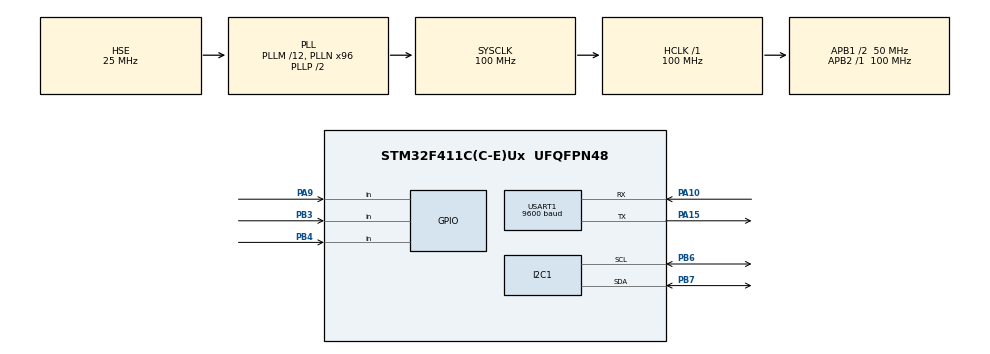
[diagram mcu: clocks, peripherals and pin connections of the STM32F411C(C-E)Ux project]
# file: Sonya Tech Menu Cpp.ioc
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Mcu.Family=STM32F4
Mcu.Name=STM32F411C(C-E)Ux
Mcu.Package=UFQFPN48
NVIC.PriorityGroup=NVIC_PRIORITYGROUP_4
NVIC.TIM1_UP_TIM10_IRQn=true\:15\:0\:false\:false\:true\:false\:true\:true
NVIC.TimeBase=TIM1_UP_TIM10_IRQn
NVIC.TimeBaseIP=TIM1
PA10.Mode=Asynchronous
PA10.Signal=USART1_RX
PA13.Mode=Serial_Wire
PA13.Signal=SYS_JTMS-SWDIO
PA14.Mode=Serial_Wire
PA14.Signal=SYS_JTCK-SWCLK
PA15.Mode=Asynchronous
PA15.Signal=USART1_TX
PA9.GPIO_PuPd=GPIO_PULLUP
PA9.Signal=GPIO_Input
PB3.Signal=GPIO_Input
PB4.Signal=GPIO_Input
PB6.Mode=I2C
PB6.Signal=I2C1_SCL
PB7.Mode=I2C
PB7.Signal=I2C1_SDA
PC14-OSC32_IN.Mode=LSE-External-Oscillator
PC14-OSC32_IN.Signal=RCC_OSC32_IN
PC15-OSC32_OUT.Mode=LSE-External-Oscillator
PC15-OSC32_OUT.Signal=RCC_OSC32_OUT
PH0\ -\ OSC_IN.Mode=HSE-External-Oscillator
PH0\ -\ OSC_IN.Signal=RCC_OSC_IN
PH1\ -\ OSC_OUT.Mode=HSE-External-Oscillator
PH1\ -\ OSC_OUT.Signal=RCC_OSC_OUT
ProjectManager.HeapSize=0x200
ProjectManager.StackSize=0x400
ProjectManager.TargetToolchain=STM32CubeIDE
RCC.48MHZClocksFreq_Value=50000000
RCC.AHBFreq_Value=100000000
RCC.APB1CLKDivider=RCC_HCLK_DIV2
RCC.APB1Freq_Value=50000000
RCC.APB1TimFreq_Value=100000000
RCC.APB2Freq_Value=100000000
RCC.APB2TimFreq_Value=100000000
RCC.CortexFreq_Value=100000000
RCC.EnbaleCSS=true
RCC.HCLKFreq_Value=100000000
RCC.HSE_VALUE=25000000
RCC.HSI_VALUE=16000000
RCC.PLLM=12
RCC.PLLN=96
RCC.PLLSourceVirtual=RCC_PLLSOURCE_HSE
RCC.SYSCLKFreq_VALUE=100000000
RCC.SYSCLKSource=RCC_SYSCLKSOURCE_PLLCLK
RCC.VCOOutputFreq_Value=200000000
USART1.BaudRate=9600
USART1.VirtualMode=VM_ASYNC
VP_SYS_VS_tim1.Mode=TIM1
board=custom

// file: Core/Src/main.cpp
/* USER CODE BEGIN Header */
/**
  ******************************************************************************
  * @file           : main.c
  * @brief          : Main program body
  ******************************************************************************
  * @attention
  *
  * Copyright (c) 2025 STMicroelectronics.
  * All rights reserved.
  *
  * This software is licensed under terms that can be found in the LICENSE file
  * in the root directory of this software component.
  * If no LICENSE file comes with this software, it is provided AS-IS.
  *
  ******************************************************************************
  */
/* USER CODE END Header */
#include "main.h"

/* USER CODE BEGIN Includes */
#include "SimpleMenu.h"
#include "liquidcrystal_i2c.h"
#include "rotary.h"

/* USER CODE END Includes */

I2C_HandleTypeDef hi2c1;

UART_HandleTypeDef huart1;

void SystemClock_Config(void);
static void MX_GPIO_Init(void);
static void MX_I2C1_Init(void);
static void MX_USART1_UART_Init(void);

/* USER CODE BEGIN 0 */

int ingr1, ingr2, ingr3, ingr4, ingr5;
int topSteps, linearSteps, tiltSteps;
int dummyValue; // placeholder for unused ranges
char tx_buffer[16];

/*******ingrTogg**************/
void ingrTogg()
{
	sprintf(tx_buffer, "%d:%d\n", 1, 1);
	HAL_UART_Transmit(&huart1, (uint8_t*)tx_buffer, strlen(tx_buffer), 1000);
}

/*******ingrTim**************/
void updateFunction() {
  if(ingr1 != 0)
  {
    sprintf(tx_buffer, "%d:%d\n", 2, ingr1);
	  HAL_UART_Transmit(&huart1, (uint8_t*)tx_buffer, strlen(tx_buffer), 1000);
	  HAL_Delay(500);
  }
  else if(ingr2 != 0)
  {
    sprintf(tx_buffer, "%d:%d\n", 3, ingr2);
    HAL_UART_Transmit(&huart1, (uint8_t*)tx_buffer, strlen(tx_buffer), 1000);
    HAL_Delay(500);
  }
  else if(ingr3 != 0)
  {
    sprintf(tx_buffer, "%d:%d\n", 4, ingr3);
    HAL_UART_Transmit(&huart1, (uint8_t*)tx_buffer, strlen(tx_buffer), 1000);
    HAL_Delay(500);
  }
  else if(ingr4 != 0)
  {
    sprintf(tx_buffer, "%d:%d\n", 5, ingr4);
    HAL_UART_Transmit(&huart1, (uint8_t*)tx_buffer, strlen(tx_buffer), 1000);
    HAL_Delay(500);
  }
  else if(ingr5 != 0)
  {
    sprintf(tx_buffer, "%d:%d\n", 6, ingr5);
    HAL_UART_Transmit(&huart1, (uint8_t*)tx_buffer, strlen(tx_buffer), 1000);
    HAL_Delay(500);
  }
 }

/*******stepperMenu**************/
void goStepper()
 {
  if(topSteps != 0)
  {
    sprintf(tx_buffer, "%d:%d\n", 7, topSteps);
    HAL_UART_Transmit(&huart1, (uint8_t*)tx_buffer, strlen(tx_buffer), 1000);
    HAL_Delay(1000);
  }
  else if(linearSteps != 0)
  {
    sprintf(tx_buffer, "%d:%d\n", 8, linearSteps);
    HAL_UART_Transmit(&huart1, (uint8_t*)tx_buffer, strlen(tx_buffer), 1000);
    HAL_Delay(1000);
  }
  else if(tiltSteps != 0)
  {
    sprintf(tx_buffer, "%d:%d\n", 9, tiltSteps);
    HAL_UART_Transmit(&huart1, (uint8_t*)tx_buffer, strlen(tx_buffer), 1000);
    HAL_Delay(1000);
  }

    sprintf(tx_buffer, "%d:%d\n", 10, 100);
    HAL_UART_Transmit(&huart1, (uint8_t*)tx_buffer, strlen(tx_buffer), 1000);

 }

/*******StartCycle**************/
void startFunction() {
sprintf(tx_buffer, "%d:%d\n", 0, 1);
HAL_UART_Transmit(&huart1, (uint8_t*)tx_buffer, strlen(tx_buffer), 1000);

/*uint8_t data[] = "Hello world\n";
HAL_UART_Transmit(&huart1, data, 12, 1000);*/
 }

// Ingr Tim submenu (range items)
SimpleMenu ingrTimMenu[6] = {
    SimpleMenu("Update", updateFunction),
    SimpleMenu("Ingr 1", &ingr1, 0, 30),
    SimpleMenu("Ingr 2", &ingr2, 0, 30),
    SimpleMenu("Ingr 3", &ingr3, 0, 30),
    SimpleMenu("Ingr 4", &ingr4, 0, 30),
    SimpleMenu("Ingr 5", &ingr5, 0, 30)
};

// Stepper submenu (mix of function and range items)
SimpleMenu stepperMenu[4] = {
    SimpleMenu("Go", goStepper),
    SimpleMenu("Top", &topSteps, -50, 50),
    SimpleMenu("Linear", &linearSteps, -50, 100),
    SimpleMenu("Tilt", &tiltSteps, -150, 150)
};

// Top-level main menu
SimpleMenu mainMenu[] = {
    SimpleMenu("Start", startFunction),
	SimpleMenu("Ingr Togg",ingrTogg),
    SimpleMenu("Ingr Tim", 6, ingrTimMenu),
    SimpleMenu("Stepper", 4, stepperMenu)
};

// Initialize the top-level menu
SimpleMenu TopMenu(4, mainMenu);

void display(SimpleMenu *_menu)
{
  HD44780_Clear();
  HD44780_SetCursor(0, 0);
  HD44780_PrintStr(">");
  HD44780_PrintStr(stringToCharArray(_menu->name));

  SimpleMenu *next = TopMenu.next();
  if(next != NULL)
  {
    HD44780_SetCursor(0, 1);
    HD44780_PrintStr(stringToCharArray(next->name));
  }
}

void displayValue(SimpleMenu *_menu)
{
  HD44780_Clear();
  HD44780_SetCursor(0, 0);
  HD44780_PrintStr(stringToCharArray(_menu->name));
  HD44780_SetCursor(0, 1);
  char valueStr[10];
  sprintf(valueStr, "%d", _menu->getValue());
  HD44780_PrintStr(valueStr);
}

/* USER CODE END 0 */

int main(void)
{

  /* MCU Configuration--------------------------------------------------------*/

  /* Reset of all peripherals, Initializes the Flash interface and the Systick. */
  HAL_Init();

  /* Configure the system clock */
  SystemClock_Config();

  /* Initialize all configured peripherals */
  MX_GPIO_Init();
  MX_I2C1_Init();
  MX_USART1_UART_Init();
  /* USER CODE BEGIN 2 */

  HAL_Delay(1000);
  uint8_t data[] = "init\n";
  HAL_UART_Transmit(&huart1, data, 5, 1000);
  HAL_Delay(1000);
  HAL_UART_Transmit(&huart1, data, 5, 1000);
  HAL_Delay(1000);

  HD44780_Init(2);
  HD44780_Clear();
  TopMenu.begin(display,displayValue);

  unsigned int pinb5;   //digital read on STM32
  unsigned int pinb6;   //digital read on STM32
  char result;

  /* USER CODE END 2 */

  /* Infinite loop */
  while (1)
  {

    /* USER CODE BEGIN 3 */

	  pinb5 = HAL_GPIO_ReadPin(GPIOB, GPIO_PIN_3);   //digital read on STM32
	  pinb6 = HAL_GPIO_ReadPin(GPIOB, GPIO_PIN_4);   //digital read on STM32

    if (HAL_GPIO_ReadPin(GPIOA, GPIO_PIN_9) == 0)
    {
      HAL_Delay(200);
      if (HAL_GPIO_ReadPin(GPIOA, GPIO_PIN_9) == 1)
      {
        TopMenu.select();
      }
      HAL_Delay(300); //Long Press
      if (HAL_GPIO_ReadPin(GPIOA, GPIO_PIN_9) == 0)
      {
        TopMenu.back();
      }
      HAL_Delay(300);
    }

    result = Pin_process(pinb5,pinb6);
    if (result == DIR_CW) {
      TopMenu.down();
    }
    else if (result == DIR_CCW) {
            TopMenu.up();

    }

  }
  /* USER CODE END 3 */
}

void SystemClock_Config(void)
{
  RCC_OscInitTypeDef RCC_OscInitStruct = {0};
  RCC_ClkInitTypeDef RCC_ClkInitStruct = {0};

  /** Configure the main internal regulator output voltage
  */
  __HAL_RCC_PWR_CLK_ENABLE();
  __HAL_PWR_VOLTAGESCALING_CONFIG(PWR_REGULATOR_VOLTAGE_SCALE1);

  /** Initializes the RCC Oscillators according to the specified parameters
  * in the RCC_OscInitTypeDef structure.
  */
  RCC_OscInitStruct.OscillatorType = RCC_OSCILLATORTYPE_HSE;
  RCC_OscInitStruct.HSEState = RCC_HSE_ON;
  RCC_OscInitStruct.PLL.PLLState = RCC_PLL_ON;
  RCC_OscInitStruct.PLL.PLLSource = RCC_PLLSOURCE_HSE;
  RCC_OscInitStruct.PLL.PLLM = 12;
  RCC_OscInitStruct.PLL.PLLN = 96;
  RCC_OscInitStruct.PLL.PLLP = RCC_PLLP_DIV2;
  RCC_OscInitStruct.PLL.PLLQ = 4;
  if (HAL_RCC_OscConfig(&RCC_OscInitStruct) != HAL_OK)
  {
    Error_Handler();
  }

  /** Initializes the CPU, AHB and APB buses clocks
  */
  RCC_ClkInitStruct.ClockType = RCC_CLOCKTYPE_HCLK|RCC_CLOCKTYPE_SYSCLK
                              |RCC_CLOCKTYPE_PCLK1|RCC_CLOCKTYPE_PCLK2;
  RCC_ClkInitStruct.SYSCLKSource = RCC_SYSCLKSOURCE_PLLCLK;
  RCC_ClkInitStruct.AHBCLKDivider = RCC_SYSCLK_DIV1;
  RCC_ClkInitStruct.APB1CLKDivider = RCC_HCLK_DIV2;
  RCC_ClkInitStruct.APB2CLKDivider = RCC_HCLK_DIV1;

  if (HAL_RCC_ClockConfig(&RCC_ClkInitStruct, FLASH_LATENCY_3) != HAL_OK)
  {
    Error_Handler();
  }

  /** Enables the Clock Security System
  */
  HAL_RCC_EnableCSS();
}

static void MX_I2C1_Init(void)
{

  hi2c1.Instance = I2C1;
  hi2c1.Init.ClockSpeed = 100000;
  hi2c1.Init.DutyCycle = I2C_DUTYCYCLE_2;
  hi2c1.Init.OwnAddress1 = 0;
  hi2c1.Init.AddressingMode = I2C_ADDRESSINGMODE_7BIT;
  hi2c1.Init.DualAddressMode = I2C_DUALADDRESS_DISABLE;
  hi2c1.Init.OwnAddress2 = 0;
  hi2c1.Init.GeneralCallMode = I2C_GENERALCALL_DISABLE;
  hi2c1.Init.NoStretchMode = I2C_NOSTRETCH_DISABLE;
  if (HAL_I2C_Init(&hi2c1) != HAL_OK)
  {
    Error_Handler();
  }

}

static void MX_USART1_UART_Init(void)
{

  huart1.Instance = USART1;
  huart1.Init.BaudRate = 9600;
  huart1.Init.WordLength = UART_WORDLENGTH_8B;
  huart1.Init.StopBits = UART_STOPBITS_1;
  huart1.Init.Parity = UART_PARITY_NONE;
  huart1.Init.Mode = UART_MODE_TX_RX;
  huart1.Init.HwFlowCtl = UART_HWCONTROL_NONE;
  huart1.Init.OverSampling = UART_OVERSAMPLING_16;
  if (HAL_UART_Init(&huart1) != HAL_OK)
  {
    Error_Handler();
  }

}

static void MX_GPIO_Init(void)
{
  GPIO_InitTypeDef GPIO_InitStruct = {0};

  /* GPIO Ports Clock Enable */
  __HAL_RCC_GPIOC_CLK_ENABLE();
  __HAL_RCC_GPIOH_CLK_ENABLE();
  __HAL_RCC_GPIOA_CLK_ENABLE();
  __HAL_RCC_GPIOB_CLK_ENABLE();

  /*Configure GPIO pin : PA9 */
  GPIO_InitStruct.Pin = GPIO_PIN_9;
  GPIO_InitStruct.Mode = GPIO_MODE_INPUT;
  GPIO_InitStruct.Pull = GPIO_PULLUP;
  HAL_GPIO_Init(GPIOA, &GPIO_InitStruct);

  /*Configure GPIO pins : PB3 PB4 */
  GPIO_InitStruct.Pin = GPIO_PIN_3|GPIO_PIN_4;
  GPIO_InitStruct.Mode = GPIO_MODE_INPUT;
  GPIO_InitStruct.Pull = GPIO_NOPULL;
  HAL_GPIO_Init(GPIOB, &GPIO_InitStruct);

}

void HAL_TIM_PeriodElapsedCallback(TIM_HandleTypeDef *htim)
{
  if (htim->Instance == TIM1) {
    HAL_IncTick();
  }
}

void Error_Handler(void)
{
  __disable_irq();
  while (1)
  {
  }
}
